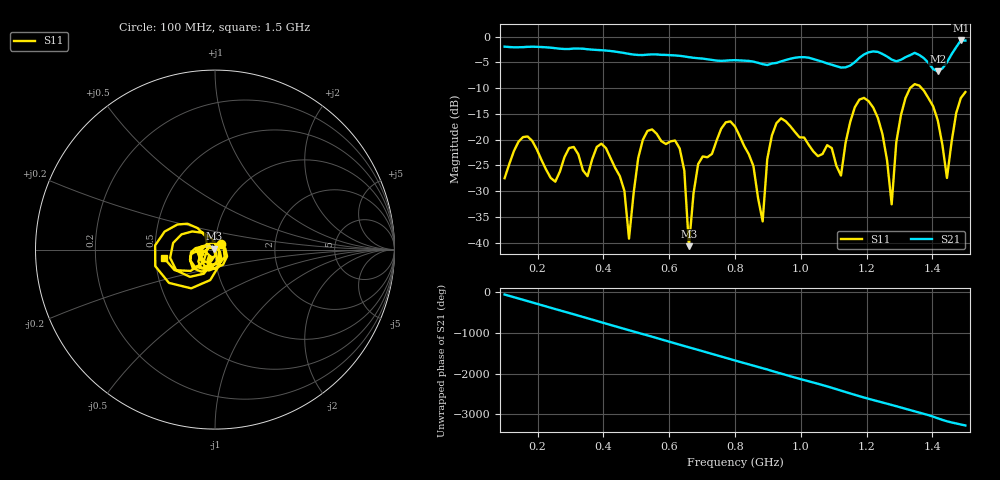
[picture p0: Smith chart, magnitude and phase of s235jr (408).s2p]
! NanoVNA-App
! Date: 2025-09-25 15:07:20
! Start: 100MHz Stop: 1,5GHz Points: 101
! S-Parameter data: F S11 S21 S12 S22
# Hz S RI R 50
!  Frequency  S11_Real  S11_Imag  S21_Real  S21_Imag  S12_Real  S12_Imag  S22_Real  S22_Imag
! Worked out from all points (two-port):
!   101 points, 100 MHz to 1.5 GHz, reference 50 ohm
!   highest |S21| = -0.76 dB at 1.486 GHz (marker M1); lowest = -6.7 dB at 1.416 GHz (marker M2)
!   |S21| within 3 dB of the highest: start of sweep to 634.4 MHz; 1.186 GHz to 1.259 GHz (72.85 MHz wide, 5.96 % of centre) (the widest 2 of 4)
!   lowest |S11| = -40.6 dB at 660 MHz (marker M3), VSWR 1.02, Z = 49.3 + j0.557 ohm
!   |S11| at or under -10 dB: start of sweep to 1.332 GHz; 1.367 GHz to end of sweep
!   S12 and S22 are empty: the file has one direction only
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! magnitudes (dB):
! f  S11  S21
! 100 MHz  -27.5  -2.0
! 170 MHz  -19.4  -2.0
! 338 MHz  -26.0  -2.4
! 408 MHz  -21.6  -2.7
! 478 MHz  -39.2  -3.4
! 520 MHz  -20.0  -3.6
! 576 MHz  -20.3  -3.6
! 632 MHz  -21.7  -3.7
! 660 MHz  -40.6  -4.0
! 688 MHz  -24.7  -4.2
! 800 MHz  -17.4  -4.6
! 884 MHz  -35.9  -5.4
! 926 MHz  -16.8  -5.1
! 1.038 GHz  -22.3  -4.4
! 1.122 GHz  -27.0  -6.0
! 1.192 GHz  -11.9  -3.5
! 1.276 GHz  -32.5  -4.5
! 1.332 GHz  -10.0  -3.6
! 1.416 GHz  -16.2  -6.7
! 1.444 GHz  -27.4  -5.0
! 1.486 GHz  -11.9  -0.8
! 1.5 GHz  -10.8  -0.8
